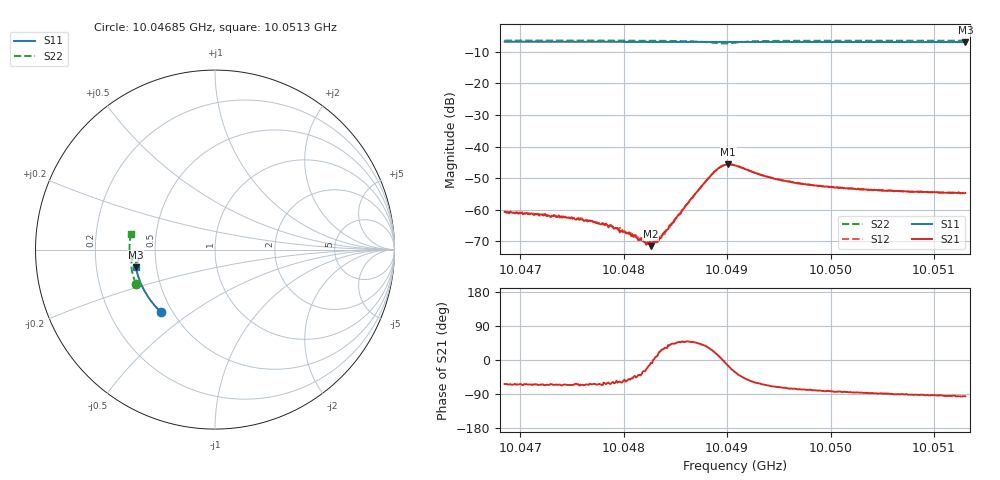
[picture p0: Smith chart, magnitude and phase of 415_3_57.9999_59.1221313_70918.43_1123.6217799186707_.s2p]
#  HZ  S  RI  R  50.00
! Rohde & Schwarz Vector Network Analyzer
! Rohde-Schwarz,ZNB20-2Port,1311601062101988,3.16
! Created: UTC 3/21/2024, 1:08:55 AM
! freq[Hz]  re:S11  im:S11  re:S21  im:S21  re:S12  im:S12  re:S22  im:S22
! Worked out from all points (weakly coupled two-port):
!   401 points, 10.04685 GHz to 10.0513 GHz, reference 50 ohm
!   highest |S21| = -45.65 dB at 10.04901 GHz (marker M1); lowest = -71.6 dB at 10.04826 GHz (marker M2)
!   lowest |S11| = -6.9 dB at 10.0513 GHz (marker M3), VSWR 2.65, Z = 19.1 - j4.72 ohm
!   |S11| at or under -10 dB: nowhere
!   |S22| runs from -7.3 to -6.4 dB; largest |S21 - S12| = 0.0004
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1.0046849e10  -0.2996 -0.349  0.000416 -0.000829  0.000485 -0.000804  -0.4414 -0.1891
1.0047217e10  -0.3169 -0.332  0.000362 -0.000737  0.000398 -0.000725  -0.4498 -0.1655
1.0047595e10  -0.3339 -0.3137  0.000289 -0.000645  0.000344 -0.00064  -0.4574 -0.1406
1.0047818e10  -0.3435 -0.3024  0.000273 -0.000502  0.000285 -0.000497  -0.4612 -0.1254
1.0047874e10  -0.3459 -0.2997  0.000253 -0.000506  0.000295 -0.000497  -0.462 -0.1214
1.0047929e10  -0.3482 -0.2968  0.000289 -0.000412  0.000309 -0.000415  -0.4627 -0.1174
1.0048063e10  -0.3536 -0.2897  0.000255 -0.000325  0.000304 -0.000302  -0.4644 -0.1078
1.0048186e10  -0.3586 -0.2836  0.000278 -0.000163  0.000291 -0.000138  -0.4657 -0.0984
1.0048219e10  -0.3598 -0.2817  0.00026 -0.000114  0.000254 -0.000109  -0.4659 -0.0959
1.0048263e10  -0.3616 -0.2793  0.000262 -3.27e-05  0.000306 -4.95e-05  -0.4663 -0.0925
1.0048308e10  -0.3634 -0.2768  0.000301 4.42e-05  0.000323 5.55e-05  -0.4665 -0.0888
1.0048341e10  -0.3646 -0.2752  0.000311 0.000118  0.000329 0.000115  -0.4665 -0.0861
1.0048419e10  -0.3674 -0.2709  0.000407 0.000252  0.000366 0.00029  -0.4665 -0.0794
1.0048664e10  -0.3764 -0.2575  0.00104 0.00114  0.000999 0.0012  -0.461 -0.056
1.0048831e10  -0.382 -0.248  0.00285 0.00169  0.00278 0.00185  -0.444 -0.0427
1.0048932e10  -0.3854 -0.2425  0.00467 0.000598  0.00465 0.000878  -0.429 -0.0494
1.004901e10  -0.3878 -0.2383  0.00503 -0.00138  0.00514 -0.00106  -0.4286 -0.0636
1.0049076e10  -0.39 -0.2347  0.00426 -0.00268  0.00446 -0.00241  -0.4378 -0.0708
1.0049422e10  -0.401 -0.2146  0.00115 -0.00299  0.00136 -0.00292  -0.4697 -0.0469
1.0049823e10  -0.4121 -0.1908  0.000435 -0.0024  0.000607 -0.00238  -0.4756 -0.0141
1.0050569e10  -0.4293 -0.145  1.53e-05 -0.00201  0.000137 -0.00201  -0.4749 0.0391
1.0051304e10  -0.4412 -0.0984  -0.000184 -0.00183  -9.99e-05 -0.00185  -0.468 0.0881
